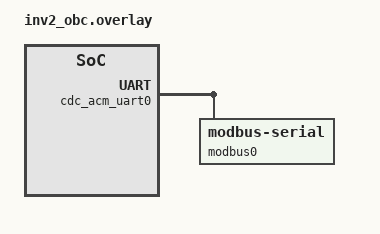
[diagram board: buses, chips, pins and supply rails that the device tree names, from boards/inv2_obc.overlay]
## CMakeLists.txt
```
# SPDX-License-Identifier: Apache-2.0

cmake_minimum_required(VERSION 3.20.0)

find_package(Zephyr REQUIRED HINTS $ENV{ZEPHYR_BASE})
project(invictus_obc)

file(GLOB_RECURSE app_sources ${CMAKE_CURRENT_SOURCE_DIR}/src/*.c)

target_sources(app PRIVATE ${app_sources})
target_include_directories(app PRIVATE ${CMAKE_CURRENT_SOURCE_DIR}/include)
```

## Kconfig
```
source "Kconfig.zephyr"

menu "OBC Application Options"

config LORA_REDIRECT_UART
    bool "Enable LoRa UART Shell"
    help
      This option enables a specific UART shell for interacting with the LoRa module.
      It is useful for debugging and direct control of the LoRa functions via a terminal.
    default 1

config MODBUS_HYDRA_SAMPLE_INTERVAL_MSEC
    int "sample interval for hydra boards in milliseconds"
    default 500

config MODBUS_LIFT_SAMPLE_INTERVAL_MSEC
    int "sample interval for the lifts, in ms"
    default 500

config MODBUS_ZBUS_LISTENER_PRIO
    int "zbus priority assigned to the modbus listener callback"
    default 5

config MODBUS_WORK_Q_PRIO
    int "priority for the modbus work queue thread"
    default 5

config MODBUS_WORK_Q_STACK
    int "stack size for the modbus work q, in bytes"
    default 1024

config TEST_MODE
    bool "Enable test mode"
    help
      This option enables test mode for the application, used in the static tests.
      When turned off, the application will run in normal (launch) mode.
    default 1

endmenu
```

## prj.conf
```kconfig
# General Settings
CONFIG_LOG=y
CONFIG_GPIO=y
CONFIG_SERIAL=y
CONFIG_ZBUS=y
CONFIG_PWM=y

# Logging settings
CONFIG_LOG=y
CONFIG_LOG_MODE_IMMEDIATE=n
CONFIG_LOG_MODE_DEFERRED=y

# rtt settings
CONFIG_USE_SEGGER_RTT=n
CONFIG_RTT_CONSOLE=n
CONFIG_UART_CONSOLE=n

# Modbus settings
CONFIG_MODBUS=y
CONFIG_MODBUS_ROLE_CLIENT=y

# State Machine Framework settings
CONFIG_SMF=y
CONFIG_SMF_ANCESTOR_SUPPORT=y
CONFIG_SMF_INITIAL_TRANSITION=y

# UART settings
CONFIG_UART_INTERRUPT_DRIVEN=y
CONFIG_UART_LINE_CTRL=n

# Enable the LoRa sx128x radio driver
CONFIG_LORA_REDIRECT_UART=n
CONFIG_LORA_SX128X=y

# CONFIG_MPSL=y
# CONFIG_MPSL_FEM=y
```

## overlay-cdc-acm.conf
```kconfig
CONFIG_UART_LINE_CTRL=y
CONFIG_USB_DEVICE_STACK=y
CONFIG_USB_DEVICE_PRODUCT="CDC ACM MODBUS Master Invictus"
CONFIG_USB_DEVICE_MANUFACTURER="Tiago Amorim"
CONFIG_USB_DEVICE_INITIALIZE_AT_BOOT=n
```

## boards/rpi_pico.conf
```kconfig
CONFIG_LORA_REDIRECT_UART=y
```

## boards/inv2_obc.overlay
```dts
&zephyr_udc0 {
	cdc_acm_uart0: cdc_acm_uart0 {
		compatible = "zephyr,cdc-acm-uart";
        status = "okay";

		modbus0 {
			compatible = "zephyr,modbus-serial";
			status = "okay";
		};
	};
};
```

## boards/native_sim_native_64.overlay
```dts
/{
	fake_sx128x: fake_sx128x {
		compatible = "zephyr,fake-sx128x";
		status = "okay";
		size = <DT_SIZE_K(8)>;
	};

  aliases {
        lora0 = &fake_sx128x;
    };
};


&uart0 {
       modbus0  {
                status = "okay";
       };
       status = "okay";
};
```

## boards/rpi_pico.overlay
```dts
&uart0 {
        modbus_uart: modbus0  {
                compatible = "zephyr,modbus-serial";
                status = "okay";
       };
       status = "okay";
};

&pinctrl {
    pwm_default: pwm_default {
        group1 {
            pinmux = <PWM_2B_P5>;
        };
    };
};

&pwm {
    pinctrl-0 = <&pwm_default>;
    pinctrl-names = "default";
    divider-int-0 = <255>;
    status = "okay";
};

/ {
       sx128x: sx128x {
              compatible = "zephyr,fake-sx128x";
              status = "okay";
              size = <DT_SIZE_K(8)>;
       };

       aliases {
              lora0 = &sx128x;
              modbus-rtu = &modbus_uart;
       };
};
```

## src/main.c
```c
#include <zephyr/kernel.h>
#include <zephyr/zbus/zbus.h>

#include <zephyr/sys/atomic.h>
#include <zephyr/sys/atomic_types.h>

#include <zephyr/drivers/gpio.h>
#include <zephyr/drivers/pwm.h>

#if DT_NODE_HAS_COMPAT(DT_CHOSEN(zephyr_shell_uart), zephyr_cdc_acm_uart)
#include <zephyr/drivers/uart.h>
#endif // zephyr_shell_uart

#include <zephyr/logging/log.h>

LOG_MODULE_REGISTER(obc, LOG_LEVEL_INF);

#include "data_models.h"
#include "validators.h"
#include "packets.h"
#include "shell.h"

#include "services/lora.h"
#include "services/modbus.h"
#include "services/state_machine/main_sm.h"

static const struct gpio_dt_spec led_green =
    GPIO_DT_SPEC_GET(DT_NODELABEL(led_green_0), gpios);
static const struct gpio_dt_spec led_red = GPIO_DT_SPEC_GET(DT_NODELABEL(led_red_0), gpios);
static const struct pwm_dt_spec buzzer = PWM_DT_SPEC_GET(DT_NODELABEL(buzzer));

#define BUZZER_PULSE_MICROS 500

/* static const struct device *fem = DEVICE_DT_GET(DT_NODELABEL(nrf_radio_fem)); */

// FIXME: remove, it's just to make sure linker is working
#include "invictus2/drivers/sx128x_hal.h"

// THREADS:
// - Main thread: LoRa communication. (for now just pipe everything to stdout).
//   - Pre-Flight Mode: Switches between receive and transmit modes based
//   periodically -- High priority thread.
//   - Flight Model: passively sends data to the ground station. Should not
//   block other threads, switch to low priority.
// - Modbus thread: Reads holding registers from the slave devices and updates
// the filling state machine. -- Medium priority thread.
// - Navigator thread: Reads data from the navigator board via uart. -- Medium
// priority thread.
// - Data Thread: Saves sensor data and debug logs to the SD card. -- Low
// priority thread.
//

// --- ZBUS Channel Definitions ---
//
//
// --- Sensor Channels ---
ZBUS_CHAN_DEFINE(chan_thermo_sensors,  /* Channel Name */
                 thermocouples_t,      /* Message Type */
                 NULL,                 /* Validator Func */
                 NULL,                 /* User Data */
                 ZBUS_OBSERVERS_EMPTY, /* Observers */
                 ZBUS_MSG_INIT(0)      /* Initial Value */
);

ZBUS_CHAN_DEFINE(chan_pressure_sensors, /* Channel Name */
                 pressures_t,           /* Message Type */
                 NULL,                  /* Validator Func */
                 NULL,                  /* User Data */
                 ZBUS_OBSERVERS_EMPTY,  /* Observers */
                 ZBUS_MSG_INIT(0)       /* Initial Value */
);

ZBUS_CHAN_DEFINE(chan_weight_sensors,  /* Channel Name */
                 loadcell_weights_t,   /* Message Type */
                 NULL,                 /* Validator Func */
                 NULL,                 /* User Data */
                 ZBUS_OBSERVERS_EMPTY, /* Observers */
                 ZBUS_MSG_INIT(0)      /* Initial Value */
);

ZBUS_CHAN_DEFINE(chan_navigator_sensors, /* Channel Name */
                 navigator_sensors_t,    /* Message Type */
                 NULL,                   /* Validator Func */
                 NULL,                   /* User Data */
                 ZBUS_OBSERVERS_EMPTY,   /* Observers */
                 ZBUS_MSG_INIT(0)        /* Initial Value */
);

ZBUS_CHAN_DEFINE(chan_kalman_data,     /* Channel Name */
                 kalman_data_t,        /* Message Type */
                 NULL,                 /* Validator Func */
                 NULL,                 /* User Data */
                 ZBUS_OBSERVERS_EMPTY, /* Observers */
                 ZBUS_MSG_INIT(0)      /* Initial Value */
);

// --- Mobdus Actuator Write Channel ---
ZBUS_CHAN_DEFINE(chan_actuators,       /* Channel Name */
                 actuators_bitmap_t,   /* Message Type */
                 NULL,                 /* Validator Func */
                 NULL,                 /* User Data */
                 ZBUS_OBSERVERS_EMPTY, /* Observers */
                 ZBUS_MSG_INIT(0)      /* Initial Value */
);

// --- Packets from Ground Station ---
ZBUS_CHAN_DEFINE(chan_packets,     /* Channel Name */
                 generic_packet_t, /* Message Type */
                 NULL,             /* Validator Func */
                 /* packet_validator,     /\* Validator Func *\/ */
                 NULL,                 /* User Data */
                 ZBUS_OBSERVERS_EMPTY, /* Observers */
                 ZBUS_MSG_INIT(0)      /* Initial Value */
);

// --- Rocket State ---
ZBUS_CHAN_DEFINE(chan_rocket_state,    /* Channel Name */
                 state_data_t,         /* Message Type */
                 NULL,                 /* Validator Func */
                 NULL,                 /* User Data */
                 ZBUS_OBSERVERS_EMPTY, /* Observers */
                 ZBUS_MSG_INIT(0)      /* Initial Value */
);

static lora_context_t lora_context;

// --- Thread Spawning ---

bool setup_services(atomic_t *stop_signal)
{
    LOG_INF("Setting up threads...");
    lora_context.stop_signal = stop_signal;

    LOG_INF("  * state machine...");
    if (!state_machine_service_setup())
    {
        LOG_ERR("State machine service setup failed");
        return false;
    }

    // Initialize the modbus thread
    LOG_INF("  * modbus...");
    if (!modbus_service_setup())
    {
        LOG_ERR("Modbus RTU master setup failed");
        return false;
    }

    /* LOG_INF("  * lora..."); */
    /* if (!lora_service_setup(&lora_context)) */
    /* { */
    /*     LOG_ERR("LoRa thread setup failed"); */
    /*     return false; */
    /* } */

    LOG_INF("done...");
    return true;
}

void health_check(void)
{
    LOG_INF("Heartbeat");

    k_sleep(K_MSEC(1000));
    pwm_set_pulse_dt(&buzzer, BUZZER_PULSE_MICROS * 1000);
    k_sleep(K_MSEC(1000));
    pwm_set_pulse_dt(&buzzer, 0);
}

// --- Main ---
int main(void)
{
    LOG_INF("Starting OBC main thread");

    health_check();
    setup_shell_if_enabled();
    health_check();

    LOG_INF("Setting up services");
    atomic_t stop_signal = ATOMIC_INIT(0);
    if (!setup_services(&stop_signal))
    {
        LOG_ERR("Failed to setup services");
        k_oops();
    }

    /* lora_service_start(); */
    state_machine_service_start();
    // modbus_service_start();

    LOG_INF("Services started.");
    return 0;
}
```

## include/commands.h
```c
#ifndef COMMANDS_H_
#define COMMANDS_H_

#include "zephyr/toolchain.h"

#include <stdint.h>
#include <stdbool.h>
#include <stddef.h>

#include "data_models.h"

// REVIEW: make this KConfig param?
#define SUPPORTED_PACKET_VERSION 1

// -----------------------------------------------------------------------------
// Packet header
// -----------------------------------------------------------------------------

// Always 1 byte fields, packed for on-the-wire transmission.
struct cmd_header_s {
    uint8_t packet_version;
    uint8_t sender_id;
    uint8_t target_id;
    uint8_t command_id; // use values from enum radio_command_e
};

// -----------------------------------------------------------------------------
// Generic Command Structure
// -----------------------------------------------------------------------------

#define CMD_SIZE          128u
#define CMD_HEADER_BYTES  ((uint8_t)sizeof(struct cmd_header_s))
#define CMD_PAYLOAD_BYTES (CMD_SIZE - CMD_HEADER_BYTES)

// NOTE: Generic commands structure, cast to a specific command type to access payloads.
struct generic_cmd_s {
    struct cmd_header_s header;
    uint8_t _reserved[CMD_PAYLOAD_BYTES];
};

// -----------------------------------------------------------------------------
// STATUS_REP payload layout
// -----------------------------------------------------------------------------

// NOTE: Alignment needs to be kept in mind.
//       It might be usable cross-platform even without compiler-specific attributes, as long
//       as the fields are defined in the same order and sizes are consistent across platforms.
//
//       For our use case, however, both the sender and receiver are the same platform
//       and compiler, so we can safely use memcpy to serialize and deserialize.
//
struct status_rep_s {
    state_data_t state_data;
    pressures_t pressures;
    thermocouples_t thermocouples;
    actuators_bitmap_t actuators;
    loadcell_weights_t loadcells;
    navigator_sensors_t navigator;
};

// -----------------------------------------------------------------------------
// Fill Exec payloads
// -----------------------------------------------------------------------------

enum fill_program_e {
    _FILL_PROGRAM_NONE = 0,

    FILL_PROGRAM_N2 = 1,
    FILL_PROGRAM_PRE_PRESS,
    FILL_PROGRAM_N2O,
    FILL_PROGRAM_POST_PRESS,

    _FILL_PROGRAM_MAX
};

struct fill_N2_params_s {
    uint16_t target_N2_deci_bar;
};

struct fill_press_params_s {
    uint16_t target_tank_deci_bar;
    uint16_t trigger_tank_deci_bar; // optional: set to 0xFFFF if unused
};

struct fill_N2O_params_s {
    uint16_t target_weight_grams;
    int16_t trigger_temp_deci_c;
};

// Fill exec generic envelope
struct fill_exec_s {
    uint8_t program_id;                          // values from enum fill_program_e
    uint8_t params[CMD_PAYLOAD_BYTES - 1]; // 1 byte for program_id, rest for params
};

#define FILL_N2_PARAM_BYTES       (sizeof(struct fill_N2_params_s))
#define FILL_PRESSURE_PARAM_BYTES (sizeof(struct fill_pressure_params_s))
#define FILL_N2O_EXTRA_BYTES      (sizeof(struct fill_n2o_extra_s))

// -----------------------------------------------------------------------------
// Manual Commands
// -----------------------------------------------------------------------------

enum manual_cmd_e {
    _MANUAL_CMD_NONE = 0,

    MANUAL_CMD_SD_LOG_START,
    MANUAL_CMD_SD_LOG_STOP,
    MANUAL_CMD_SD_STATUS,
    MANUAL_CMD_VALVE_STATE,
    MANUAL_CMD_VALVE_MS,
    MANUAL_CMD_LOADCELL_TARE,
    MANUAL_CMD_TANK_TARE,

    _MANUAL_CMD_MAX
};

struct manual_valve_state_s {
    uint8_t valve_id;
    uint8_t open; // boolean: 0 closed, 1 open
};

struct manual_valve_ms_s {
    uint8_t valve_id;
    uint32_t duration_ms;
};

struct manual_tare_s {
    uint8_t id; // loadcell or tank id
};

// same logic as struct fill_exec_s
struct manual_exec_s {
    uint8_t manual_cmd_id;
    uint8_t params[CMD_PAYLOAD_BYTES - 1];
};

// -----------------------------------------------------------------------------
// ACK payload
// -----------------------------------------------------------------------------
// ACK contains the command id being acknowledged and optional error code(s).
// Define a compact representation.

struct ack_s {
    uint8_t ack_cmd_id;  // command_t that is acknowledged
    uint8_t status_code; // 0 = OK, non-zero = error
    uint8_t params[CMD_PAYLOAD_BYTES - 2];
};

// -----------------------------------------------------------------------------
// Command IDs
// -----------------------------------------------------------------------------
typedef enum cmd_e {
    _CMD_NONE = 0,

    // FROM GROUND STATION to OBC
    //
    // No payload data, just reserved bytes
    CMD_STATUS_REQ = 1,
    CMD_ABORT,
    CMD_READY,
    CMD_ARM,
    CMD_FIRE,
    CMD_LAUNCH_OVERRIDE,
    CMD_STOP,
    CMD_SAFE_PAUSE,
    CMD_RESUME,
    CMD_MANUAL_TOGGLE,

    // Commands with payload data
    CMD_FILL_EXEC,
    CMD_MANUAL_EXEC,

    // FROM OBC to GROUND STATION
    //
    CMD_STATUS_REP,
    CMD_ACK,

    _CMD_MAX
} command_t;

typedef enum fill_cmd_e {
    CMD_FILL_NONE = 0,
    CMD_FILL_N2,
    CMD_FILL_PRE_PRESS,
    CMD_FILL_N2O,
    CMD_FILL_POST_PRESS,
} fill_command_t;   

// -----------------------------------------------------------------------------
// Individual Command Definitions
// -----------------------------------------------------------------------------
// NOTE: These definitions should be safe to cast to and from the generic
//       radio_generic_cmd_s structure as they all have the same header structure
//       and align to the same size.
//
//       Prefer to use these definitions across the codebase to ensure type
//       safety and consistency.
//
//       the generic contained should only be used to pack and unpack commands
//       into wire format for transmission over the radio.
// -----------------------------------------------------------------------------

#define _PAD_SIZE(partial_s) (CMD_PAYLOAD_BYTES - sizeof(partial_s))

#define _COMMAND_NAME(name) cmd_##name##_s

#define _ASSERT_CMD_SIZE(name)                                                                \
    BUILD_ASSERT(sizeof(struct _COMMAND_NAME(name)) == CMD_SIZE, #name " size error")

// Command with no payload data (all reserved)
#define MAKE_CMD(name)                                                                        \
    struct _COMMAND_NAME(name) {                                                              \
        struct cmd_header_s hdr;                                                              \
        uint8_t _reserved[CMD_PAYLOAD_BYTES];                                           \
    };                                                                                        \
    _ASSERT_CMD_SIZE(name)

// Command with defined payload data
#define MAKE_CMD_WITH_PAYLOAD(name, partial_s)                                                \
    struct _COMMAND_NAME(name) {                                                              \
        struct cmd_header_s hdr;                                                              \
        partial_s payload;                                                                    \
        uint8_t _reserved[_PAD_SIZE(partial_s)];                                              \
    };                                                                                        \
    _ASSERT_CMD_SIZE(name)

MAKE_CMD(status_req);
MAKE_CMD(abort);
MAKE_CMD(ready);
MAKE_CMD(arm);
MAKE_CMD(fire);
MAKE_CMD(launch_override);
MAKE_CMD(fill_stop);
MAKE_CMD(fill_resume);
MAKE_CMD(manual_toggle);

MAKE_CMD_WITH_PAYLOAD(ack, struct ack_s);
MAKE_CMD_WITH_PAYLOAD(fill_exec, struct fill_exec_s);
MAKE_CMD_WITH_PAYLOAD(status_rep, struct status_rep_s);
MAKE_CMD_WITH_PAYLOAD(manual_exec, struct manual_exec_s);

#undef _PAD_SIZE
#undef _COMMAND_NAME
#undef _ASSERT_CMD_SIZE

#undef MAKE_CMD
#undef MAKE_CMD_WITH_PAYLOAD

// -----------------------------------------------------------------------------
// Serialization helpers (declarations)
// -----------------------------------------------------------------------------

enum pack_error_e {
    PACK_ERROR_NONE = 0,
    PACK_ERROR_INVALID_ARG,
    PACK_ERROR_BUFFER_TOO_SMALL,
    PACK_ERROR_UNSUPPORTED_VERSION,
    PACK_ERROR_INVALID_CMD_ID,
};

enum pack_error_e cmd_pack(const struct generic_cmd_s *const cmd,
                                 uint8_t *const out_buf, const size_t out_buf_size);

enum pack_error_e cmd_unpack(const uint8_t *const in_buf, const size_t in_buf_size,
                                   struct generic_cmd_s *const cmd);

#endif // COMMANDS_H_
```

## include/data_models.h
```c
#ifndef DATA_MODELS_H_
#define DATA_MODELS_H_

#include <stdint.h>

typedef enum
{
    _MAIN_STATE_START = 0,

    ROOT,
    IDLE,
    FILL,
    READY,
    ARMED,
    FLIGHT,
    ABORT,

    _MAIN_STATE_MAX,
} main_state_t;

#define FILL_SST(SST) (SST + _MAIN_STATE_MAX + 1)

// Filling Substates
typedef enum
{
    _FILL_SST_START,

    SAFE_PAUSE,
    SAFE_PAUSE_IDLE,
    SAFE_PAUSE_VENT,

    FILL_N2,
    FILL_N2_IDLE,
    FILL_N2_FILL,
    FILL_N2_VENT,

    PRE_PRESS,
    PRE_PRESS_IDLE,
    PRE_PRESS_VENT,
    PRE_PRESS_FILL_N2,

    FILL_N2O,
    FILL_N2O_IDLE,
    FILL_N2O_FILL,
    FILL_N2O_VENT,

    POST_PRESS,
    POST_PRESS_IDLE,
    POST_PRESS_VENT,
    POST_PRESS_FILL_N2,

    _FILL_SST_MAX
} fill_substate_t;

#define FLIGHT_SST(SST) (SST + FILL_SST(_FILL_SST_MAX) + 1)

// Flight Substates
typedef enum
{
    _FLIGHT_SST_START,

    IGNITION,
    BOOST,
    COAST,
    APOGEE,
    DROGUE_CHUTE,
    MAIN_CHUTE,
    TOUCHDOWN,

    _FLIGHT_SST_MAX,
} flight_substate_t;

typedef enum
{
    _VALVE_NONE = 0,

    // Rocket Valves
    VALVE_PRESSURIZING,
    VALVE_VENT,
    VALVE_ABORT,
    VALVE_MAIN,

    // Filling Station Valves
    VALVE_N2O_FILL,
    VALVE_N2O_PURGE,
    VALVE_N2_FILL,
    VALVE_N2_PURGE,

    // Filling Station Quick Disconnects
    VALVE_N2O_QUICK_DC,
    VALVE_N2_QUICK_DC,

    _VALVE_COUNT,
} valve_t;

// Structures and unions for various sensor data and actuator states
// Used across the ZBUS channels.

// Actuators bitfield definition (13 bits -> store in 2 bytes)
typedef union
{
    struct
    {
        // Rocket valves
        uint16_t v_pressurizing: 1;
        uint16_t v_vent: 1;
        uint16_t v_abort: 1;
        uint16_t v_main: 1;

        // Filling station valves
        uint16_t v_n2o_fill: 1;
        uint16_t v_n2o_purge: 1;
        uint16_t v_n2_fill: 1;
        uint16_t v_n2_purge: 1;

        // E-matches: ignition, drogue, main chute (3 bits)
        uint16_t ematch_ignition: 1;
        uint16_t ematch_drogue: 1;
        uint16_t ematch_main: 1;

        // Filling station Quick Release
        //  NOTE : After launch these should be interpreted
        //       as reserved bits as their state is no longer
        //       relevant.
        uint16_t v_n2o_quick_dc: 1;
        uint16_t v_n2_quick_dc: 1;

        // remaining bits reserved for alignment
        uint16_t reserved: 3;
    };

    struct
    {
        uint16_t rocket_valves_mask: 4;
        uint16_t fill_station_valves_mask: 4;
        uint16_t ematches_mask: 3;
        uint16_t quick_dc_mask: 2;
        uint16_t reserved_mask: 3;
    };

    uint16_t raw;
} actuators_bitmap_t;

typedef union
{
    struct
    {
        int16_t n2o_tank_uf_t1;
        int16_t n2o_tank_uf_t2;
        int16_t n2o_tank_uf_t3;
        int16_t n2o_tank_lf_t1;
        int16_t n2o_tank_lf_t2;
        int16_t chamber_thermo;
        int16_t n2o_line_thermo1; // before and after solenoids
        int16_t n2o_line_thermo2;
        int16_t n2_line_thermo;
    };
    int16_t raw[8];
} thermocouples_t;

typedef union
{
    struct
    {
        uint16_t n2o_tank_pressure;
        uint16_t chamber_pressure;
        uint16_t n2o_line_pressure;
        uint16_t n2_line_pressure;
        uint16_t quick_dc_pressure;
    };
    uint16_t raw[6];
} pressures_t;

typedef union
{
    struct
    {
        uint16_t n2o_loadcell;  // N2O bottle loadcell
        uint16_t rail_loadcell; // Only used during competition to measure rocket weight

        // Loadcells for static tests
        uint16_t thrust_loadcell1;
        uint16_t thrust_loadcell2;
        uint16_t thrust_loadcell3;
    };
    uint16_t raw[5];
} loadcell_weights_t;

typedef struct
{
    // GPS:
    uint32_t gps_latitude_u32;  // reinterpret-casted float bits
    uint32_t gps_longitude_u32; // reinterpret-casted float bits
    uint16_t gps_altitude;      // altitude in meters
    uint16_t gps_hspeed;        // horizontal speed (units TBD)
    uint8_t gps_sats;           // gps number of satelites
    uint8_t _reserved;          // extra byte for alignment

    // Barometers:
    uint16_t baro1, baro2;

    // IMU:
    int16_t mag_x, mag_y, mag_z;       // Magnetometer
    int16_t gyro_x, gyro_y, gyro_z;    // Gyroscope
    int16_t accel_x, accel_y, accel_z; // Accelerometer
} navigator_sensors_t;

typedef struct
{
    int16_t vertical_speed;
    int16_t vertical_acceleration;
    int16_t altitude;
    int16_t max_altitude;
    int16_t quaternions[4];
} kalman_data_t;

typedef struct state_data_s
{
    main_state_t main_state;
    fill_substate_t filling_state;
    flight_substate_t flight_state;
} state_data_t;

typedef struct
{
    state_data_t state;
    pressures_t pressures;
    thermocouples_t thermocouples;
    actuators_bitmap_t actuators;
    loadcell_weights_t loadcells;
    navigator_sensors_t navigator;
    kalman_data_t kalman;
} system_data_t;

#endif // DATA_MODELS_H_
```

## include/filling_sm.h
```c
#ifndef _FILLING_SM_H_
#define _FILLING_SM_H_

#include "zephyr/smf.h"

#include "filling_sm_config.h"

#define CMD_OTHER_START  0x00010000
#define CMD_IDLE_START   0x00000100
#define CMD_GLOBAL_START 0x00000001

#define CMD_OTHER_MASK  0x00FF0000
#define CMD_IDLE_MASK   0x0000FF00
#define CMD_GLOBAL_MASK 0x000000FF

#define CMD_OTHER(x)  ((x) & CMD_OTHER_MASK)
#define CMD_IDLE(x)   ((x) & CMD_IDLE_MASK)
#define CMD_GLOBAL(x) ((x) & CMD_GLOBAL_MASK)

enum cmd_global {
    CMD_STOP = CMD_GLOBAL_START, // ANY -> IDLE
    CMD_ABORT,                   // ANY -> ABORT
    CMD_PAUSE,                   // ANY -> SAFE_PAUSE_IDLE
};

enum cmd_idle {
    CMD_FILL_COPV = CMD_IDLE_START, // IDLE -> FILLING_COPV_IDLE
    CMD_PRE_PRESSURIZE,             // IDLE -> PRE_PRESSURIZING_IDLE
    CMD_FILL_N2O,                   // IDLE -> FILLING_N2O_IDLE
    CMD_POST_PRESSURIZE,            // IDLE -> POST_PRESSURIZING_IDLE
};

enum cmd_other {
    CMD_READY = CMD_OTHER_START, // ABORT -> IDLE
    CMD_RESUME,                  // SAFE_PAUSE -> IDLE
};

typedef uint32_t cmd_t;

/* List of possible states */
enum filling_state {
    ROOT, // parent state to all states. Used to handle global commands

    IDLE,
    ABORT,
    MANUAL_OP, // NOTE: Acept manual override commands from the ground station

    // SAFE PAUSE
    SAFE_PAUSE, // parent state
    SAFE_PAUSE_IDLE,
    SAFE_PAUSE_VENT,

    // FILLING_COPV (filling N)
    FILLING_COPV, // parent state
    FILLING_COPV_IDLE,
    FILLING_COPV_FILL,

    // PRE_PRESSURIZING
    PRE_PRESSURIZING, // parent state
    PRE_PRESSURIZING_IDLE,
    PRE_PRESSURIZING_VENT,
    PRE_PRESSURIZING_FILL_N,

    // FILLING_N2O
    FILLING_N2O, // parent state
    FILLING_N2O_IDLE,
    FILLING_N2O_FILL,
    FILLING_N2O_VENT,

    // POST_PRESSURIZING
    POST_PRESSURIZING, // parent state
    POST_PRESSURIZING_IDLE,
    POST_PRESSURIZING_VENT,
    POST_PRESSURIZING_FILL_N,
};

enum valves {
    VALVE_N2O_FILL,
    VALVE_N2O_PURGE,
    VALVE_N_FILL,
    VALVE_N_PURGE,
    VALVE_N2O_QUICK_DC,
    VALVE_N2_QUICK_DC,
    VALVE_PRESSURIZING,
    VALVE_MAIN,
    VALVE_VENT,
    VALVE_ABORT,
    VALVE_COUNT,
};

struct filling_sm_config {
    struct safe_pause {
        uint16_t target_n2o_tank_pressure; 
        uint16_t trigger_n2o_tank_pressure;
    } safe_pause;

    // State Machine Configuration
    struct filling_copv {
        uint16_t target_n2_tank_pressure; // NOTE: this is the pressure on the n2 line before the tank, as there is no pressure sensor on the n2 tank.
    } f_copv;

    struct pre_pressurizing {
        uint16_t target_n2o_tank_pressure;
        uint16_t trigger_n2o_tank_pressure;
    } pre_p;

    struct filling_n2o {
        uint16_t target_n2o_tank_weight;
        uint16_t target_n2o_tank_pressure;
        uint16_t trigger_n2o_tank_pressure;
        uint16_t trigger_n2o_tank_temperature; // Minimum temperature safe for the valves
    } f_n2o;

    struct post_pressurizing {
        uint16_t target_n2o_tank_pressure;
        uint16_t trigger_n2o_tank_pressure;
    } post_p;
};

union filling_data {
    struct {
        uint16_t n2_tank_pressure; // This value is from the N2 line (Filling Station)
        uint16_t n2o_tank_pressure;
        uint16_t n2o_tank_weight;
        uint16_t n2o_tank_temperature; // Temperature of the N2O tank
    }; // anonymous struct
    uint16_t raw[4];
};

/* User defined object */
struct filling_sm_object {
    /* This must be first */
    struct smf_ctx ctx;

    cmd_t command;
    union filling_data data;

    union valve_states {
        struct {
            uint16_t n2o_fill : 1;
            uint16_t n2o_purge : 1;
            uint16_t n_fill : 1;
            uint16_t n_purge : 1;
            uint16_t n2o_quick_dc : 1;
            uint16_t n2_quick_dc : 1;
            uint16_t pressurizing : 1;
            uint16_t main : 1;
            uint16_t vent : 1;
            uint16_t abort : 1;
            uint16_t reserved : 6;
        }; // anonymous struct for individual valve states
        uint16_t raw;
    } valve_states;

    struct filling_sm_config *config;
};

#ifdef UNIT_TEST
extern const struct smf_state filling_states[];
#endif

void filling_sm_init(struct filling_sm_object *initial_s_obj);

#define LOG_FILLING_DATA(fsm_data)                                                            \
    do {                                                                                     \
        LOG_INF("N2 Tank P: %u", (fsm_data).n2_tank_pressure);                             \
        LOG_INF("N2O Tank P: %u", (fsm_data).n2o_tank_pressure);                          \
        LOG_INF("N2O Tank W: %u", (fsm_data).n2o_tank_weight);                            \
        LOG_INF("N2O Tank T: %u", (fsm_data).n2o_tank_temperature);                       \
    } while (0)

#define DEFAULT_FSM_CONFIG(name)                                                              \
    struct filling_sm_config name = {                                                         \
        .safe_pause =                                                                         \
            {                                                                                 \
                .target_n2o_tank_pressure = SAFE_PAUSE_TARGET_N2O_TANK_P,                          \
                .trigger_n2o_tank_pressure = SAFE_PAUSE_TRIGGER_N2O_TANK_P,                        \
            },                                                                                \
        .f_copv =                                                                             \
            {                                                                                 \
                .target_n2_tank_pressure = FILLING_COPV_TARGET_N2_TANK_P,                        \
            },                                                                                \
        .pre_p =                                                                              \
            {                                                                                 \
                .target_n2o_tank_pressure = PRE_PRESSURIZING_TARGET_N2O_TANK_P,                       \
                .trigger_n2o_tank_pressure = PRE_PRESSURIZING_TRIGGER_N2O_TANK_P,                     \
            },                                                                                \
        .f_n2o =                                                                              \
            {                                                                                 \
                .target_n2o_tank_pressure = FILLING_N2O_TARGET_N2O_TANK_P,                            \
                .target_n2o_tank_weight = FILLING_N2O_TARGET_N2O_TANK_W,                              \
                .trigger_n2o_tank_pressure = FILLING_N2O_TRIGGER_N2O_TANK_P,                          \
                .trigger_n2o_tank_temperature = FILLING_N2O_TRIGGER_N2O_TANK_T,                              \
            },                                                                                \
        .post_p =                                                                             \
            {                                                                                 \
                .target_n2o_tank_pressure = POST_PRESSURIZING_TARGET_N2O_TANK_P,                      \
                .trigger_n2o_tank_pressure = POST_PRESSURIZING_TRIGGER_N2O_TANK_P,                    \
            },                                                                                \
    }

#endif // _FILLING_SM_H_
```

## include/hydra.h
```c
#ifndef HYDRA_H_
#define HYDRA_H_

#include "services/modbus.h"

#include <stdint.h>

// NOTE: Solenoids are represented as modbus coils.
// Sensors are represented as modbus input registers.
// Temperatures in ºC. Pressures in Bar.

// Upper Feed (UF) Hydraulic Regulation and Actuation (HYDRA) board structure
struct uf_hydra {
    struct modbus_slave_metadata meta;

    union uf_solenoids {
        struct {
            uint8_t pressurizing_valve: 1;
            uint8_t venting_valve: 1;
            uint8_t _reserved: 6;
        };
        uint8_t raw;
    } solenoids;

    union uf_sensors {
        struct {
            uint16_t uf_temperature1; 
            uint16_t uf_temperature2;
            uint16_t uf_temperature3;
        };
        uint16_t raw[3];
    } sensors;
};

// Lower Feed (UF) Hydraulic Regulation and Actuation (HYDRA) board structure
struct lf_hydra {
    struct modbus_slave_metadata meta;

    union lf_solenoids {
        // REVIEW: change these names once there is a better naming convention
        struct {
            uint8_t abort_valve: 1;
            uint8_t main_valve: 1;
            uint8_t _reserved: 6;
        };
        uint8_t raw;
    } solenoids;

    union lf_sensors {
        struct {
            uint16_t lf_temperature1;
            uint16_t lf_temperature2;
            uint16_t lf_pressure;
            uint16_t cc_pressure;
        };
        uint16_t raw[4];
    } sensors;
};

// Rocket Hydras structure containing upper and lower feed hydras
struct rocket_hydras {
    struct uf_hydra uf;
    struct lf_hydra lf;
};

// Filling station hydra structure
struct fs_hydra {
    struct modbus_slave_metadata meta;

    union fs_solenoids {
        struct {
            uint8_t n2o_fill_valve: 1;
            uint8_t n2_fill_valve: 1;
            uint8_t n2o_purge_valve: 1;
            uint8_t n2_purge_valve: 1;
            uint8_t n2o_quick_dc: 1;
            uint8_t n2_quick_dc: 1;
            uint8_t _reserved: 2;
        };
        uint8_t raw;
    } solenoids;

    union fs_sensors {
        struct {
            // Pressure sensors
            uint16_t n2o_pressure;
            uint16_t n2_pressure;
            uint16_t quick_dc_pressure;

            // Temperature sensors
            uint16_t n2o_temperature1; // temperature before solenoid
            uint16_t n2o_temperature2; // temperature after solenoid
            uint16_t n2_temperature;
        };
        uint16_t raw[6];
    } sensors;
};

/*
 * Initialize the hydras structure with default values.
 * This function sets the slave IDs, connection states, solenoid states, and sensor data to
 * their initial values.
 *
 * This function must be called before using the hydras structure.
 * It expects that the slave IDs for the upper feed (UF) and lower feed (LF)
 * hydras are defined in the Kconfig options CONFIG_HYDRA_UF_SLAVE_ID
 * and CONFIG_HYDRA_LF_SLAVE_ID, respectively.
 *
 * @param h Pointer to the hydras structure to initialize.
 * @returns void.
 */
void rocket_hydras_init(struct rocket_hydras *h);

/**
 * Read the sensors from the hydras.
 * This function reads the input registers for the upper feed and lower feed hydras
 * and updates their respective sensor values.
 *
 * @param client_iface The Modbus client interface to use for reading.
 * @param h Pointer to the hydras structure containing the hydras to read.
 * @returns void.
 *
 * @note This function flags the connection status of each hydra based on the read result.
 *       If the read is successful, it sets the `is_connected` flag to true.
 *       If the read fails, it sets the `is_connected` flag to false and logs a warning.
 */
void rocket_hydras_sensor_read(const int client_iface, struct rocket_hydras *const h);

// TODO: implement this function
void rocket_hydras_coils_read(const int client_iface, struct rocket_hydras *const h);

#endif // HYDRA_H_
```

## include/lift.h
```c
#ifndef LIFT_H_
#define LIFT_H_

#include "stdint.h"

// NOTE: E-Matches are represented as modbus coils.
// Load Cells are represented as modbus input registers.
// TODO: decide if weights should be signed, unsigned, or float.

// TODO: implement is_connected functionality in the codebase.

struct lift_metadata {
    uint16_t ir_start;    // Start address for input registers
    uint8_t slave_id;     // Modbus slave ID
    uint8_t is_connected; // Connection status
};

// Filling Station (FS) Loadcell and Ignition Firing Terminal (LIFT) board structure
struct fs_lift {
    struct lift_metadata meta;

    // Note: the board has 3 loadcell amps and 1 e-match driver to accomodate for the rocket board needs.
    // The fs board only uses 1 loadcell.
    uint16_t n2o_loadcell;
};

// Rocket (R) Loadcell and Ignition Firing Terminal (LIFT) board structure
struct r_lift {
    struct lift_metadata meta;

    union r_loadcells {
        struct {
            uint16_t loadcell1;
            uint16_t loadcell2;
            uint16_t loadcell3;
        } values;
        uint16_t raw[3];
    } loadcells;

    // Feels weird to have the union with only one bit,
    // but it is consistent with the hydras and other lift structs.
    union r_ematches {
        struct {
            uint8_t main_ematch: 1;
            uint8_t _reserved: 7;
        };
        uint8_t raw;
    } ematches; 
};

/*
 * Initialize the lift structure with default values.
 * This function sets the slave IDs, connection states, e-match states, and sensor data to
 * their initial values.
 *
 * This function must be called before using the lift structure.
 * It expects that the slave IDs for the filling station (FS) and rocket (R)
 * lift boards are defined in the Kconfig options CONFIG_LIFT_FS_SLAVE_ID
 * and CONFIG_LIFT_R_SLAVE_ID, respectively.
 *
 * @param h Pointer to the lift structure to initialize.
 * @returns void.
 */
void rocket_lift_init(struct rocket_lift *h);

/**
 * Read the sensors from the lift.
 * This function reads the input registers for the filling station and rocket lift
 * and updates their respective sensor values.
 *
 * @param client_iface The Modbus client interface to use for reading.
 * @param h Pointer to the lift structure containing the lift boards to read.
 * @returns void.
 *
 * @note This function flags the connection status of each lift board based on the read result.
 *       If the read is successful, it sets the `is_connected` flag to true.
 *       If the read fails, it sets the `is_connected` flag to false and logs a warning.
 */
void rocket_lift_sensor_read(const int client_iface, struct rocket_lift *const h);
void fs_lift_sensor_read(const int client_iface, struct fs_lift *const l);

// TODO: implement this function
void rocket_lift_coils_read(const int client_iface, struct rocket_lift *const h);
void fs_lift_coils_read(const int client_iface, struct fs_lift *const l);

#endif // LIFT_H_
```

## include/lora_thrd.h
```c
#ifndef LORA_THRD_H_
#define LORA_THRD_H_

#include "stdbool.h"
#include "zephyr/kernel.h"

struct lora_cmd_queues {
    struct k_msgq *in_fsm_cmd_q;      // Queue for incomming FSM commands
    struct k_msgq *in_override_cmd_q; // Queue for incomming override/manual mode commands
};

struct lora_data_queues {
    struct k_msgq *sensor_data_q;    // Queue for sensor data (modbus)
    struct k_msgq *navigator_data_q; // Queue for navigator data
};

bool lora_thread_setup(void);
void lora_thread_entry(void *_cmd_qs, void *_data_qs, void *p3);

#endif // LORA_THRD_H_
```

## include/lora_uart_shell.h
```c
#ifndef LORA_UART_SHELL_H_
#define LORA_UART_SHELL_H_

#include "stdbool.h"

bool lora_uart_setup(void);
void lora_uart_entry(void *p1, void *p2, void *p3);

#endif // LORA_UART_SHELL_H_
```

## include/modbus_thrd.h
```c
#ifndef _MODBUS_THRD_H_
#define _MODBUS_THRD_H_

#include "stdbool.h"

bool modbus_thread_setup(void);
void modbus_thread(void *p1, void *p2, void *p3);

#endif
```

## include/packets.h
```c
#ifndef PACKETS_H_
#define PACKETS_H_

#include "zephyr/toolchain.h"

#include <stdint.h>
#include <stdbool.h>
#include <stddef.h>

#include "data_models.h"

// REVIEW: make this KConfig param?
#define SUPPORTED_PACKET_VERSION 1
#define OBC_PACKET_ID            2
#define GROUND_STATION_PACKET_ID 1

// -----------------------------------------------------------------------------
// Packet header
// -----------------------------------------------------------------------------

// Always 1 byte fields, packed for on-the-wire transmission.
typedef struct packet_header_s
{
    uint8_t packet_version;
    uint8_t sender_id;
    uint8_t target_id;
    uint8_t command_id; // use values from enum radio_command_e
} packet_header_t;

// -----------------------------------------------------------------------------
// Generic Packet Structure
// -----------------------------------------------------------------------------

#define PACKET_SIZE          128u
#define PACKET_HEADER_BYTES  ((uint8_t)sizeof(struct packet_header_s))
#define PACKET_PAYLOAD_BYTES (PACKET_SIZE - PACKET_HEADER_BYTES)

// NOTE: Generic packet structure, cast to a specific packet type to access values by name.
typedef struct generic_packet_s
{
    packet_header_t header;
    uint8_t payload[PACKET_PAYLOAD_BYTES];
} generic_packet_t;

// -----------------------------------------------------------------------------
// STATUS_REP payload layout
// -----------------------------------------------------------------------------

// NOTE: Alignment needs to be kept in mind.
//       It might be usable cross-platform even without compiler-specific attributes, as long
//       as the fields are defined in the same order and sizes are consistent across platforms.
//
//       For our use case, however, both the sender and receiver are the same platform
//       and compiler, so we can safely use memcpy to serialize and deserialize.
//
// For now status rep struct == system_data_t

// -----------------------------------------------------------------------------
// Fill Exec payloads
// -----------------------------------------------------------------------------

struct fill_N2_params_s
{
    uint16_t target_N2_deci_bar;
    uint16_t trigger_N2_deci_bar;
};

struct fill_press_params_s
{
    uint16_t target_tank_deci_bar;
    uint16_t trigger_tank_deci_bar; // optional: set to 0xFFFF if unused
};

struct fill_N2O_params_s
{
    uint16_t target_weight_grams;
    int16_t trigger_temp_deci_c;
};

struct fill_safe_pause_params_s
{
    uint16_t target_tank_dbar;
    uint16_t trigger_tank_dbar;
};

// Fill exec generic envelope
struct fill_exec_s
{
    uint8_t program_id;                       // values from fill_command_t
    uint8_t params[PACKET_PAYLOAD_BYTES - 1]; // 1 byte for program_id, rest for params
};

#define FILL_N2_PARAM_BYTES       (sizeof(struct fill_N2_params_s))
#define FILL_PRESSURE_PARAM_BYTES (sizeof(struct fill_pressure_params_s))
#define FILL_N2O_EXTRA_BYTES      (sizeof(struct fill_N2O_extra_s))

// -----------------------------------------------------------------------------
// Manual Commands
// -----------------------------------------------------------------------------

enum manual_cmd_e
{
    _MANUAL_CMD_NONE = 0,

    MANUAL_CMD_SD_LOG_START,
    MANUAL_CMD_SD_LOG_STOP,
    MANUAL_CMD_SD_STATUS,
    MANUAL_CMD_VALVE_STATE,
    MANUAL_CMD_VALVE_MS,
    MANUAL_CMD_LOADCELL_TARE,
    MANUAL_CMD_TANK_TARE,

    _MANUAL_CMD_MAX
};

struct manual_valve_state_s
{
    uint8_t valve_id;
    uint8_t open; // boolean: 0 closed, 1 open
};

struct manual_valve_ms_s
{
    uint8_t valve_id;
    uint32_t duration_ms;
};

struct manual_tare_s
{
    uint8_t id; // loadcell or tank id
};

// same logic as struct fill_exec_s
struct manual_exec_s
{
    uint8_t manual_cmd_id;
    uint8_t params[PACKET_PAYLOAD_BYTES - 1];
};

// -----------------------------------------------------------------------------
// ACK payload
// -----------------------------------------------------------------------------
// ACK contains the command id being acknowledged and optional error code(s).
// Define a compact representation.

struct ack_s
{
    uint8_t ack_cmd_id;  // command_t that is acknowledged
    uint8_t status_code; // 0 = OK, non-zero = error
    uint8_t params[PACKET_PAYLOAD_BYTES - 2];
};

// -----------------------------------------------------------------------------
// Command IDs
// -----------------------------------------------------------------------------
typedef enum cmd_e
{
    _CMD_NONE = 0,

    // FROM GROUND STATION to OBC
    //
    // No payload data, just reserved bytes
    CMD_STATUS_REQ = 1,
    CMD_ABORT,
    CMD_READY,
    CMD_ARM,
    CMD_FIRE,
    CMD_LAUNCH_OVERRIDE,
    CMD_STOP,
    CMD_RESUME,
    CMD_MANUAL_TOGGLE,

    // Commands with payload data
    CMD_FILL_EXEC,
    CMD_MANUAL_EXEC,

    // FROM OBC to GROUND STATION
    //
    CMD_STATUS_REP,
    CMD_ACK,

    _CMD_MAX
} command_t;

typedef enum fill_cmd_e
{
    CMD_FILL_NONE = 0,
    CMD_FILL_SAFE_PAUSE,
    CMD_FILL_N2,
    CMD_FILL_PRE_PRESS,
    CMD_FILL_N2O,
    CMD_FILL_POST_PRESS,
} fill_command_t;

// -----------------------------------------------------------------------------
// Individual Command Definitions
// -----------------------------------------------------------------------------
// NOTE: These definitions should be safe to cast to and from the generic
//       radio_generic_packet_s structure as they all have the same header structure
//       and align to the same size.
//
//       Prefer to use these definitions across the codebase to ensure type
//       safety and consistency.
//
//       the generic contained should only be used to pack and unpack commands
//       into wire format for transmission over the radio.
// -----------------------------------------------------------------------------

#define _PAD_SIZE(partial_s) (PACKET_PAYLOAD_BYTES - sizeof(partial_s))

#define _COMMAND_NAME(name) cmd_##name##_s

#define _ASSERT_PACKET_SIZE(name)                                                             \
    BUILD_ASSERT(sizeof(struct _COMMAND_NAME(name)) == PACKET_SIZE, #name " size error")

// Packet with no payload data (all reserved)
#define MAKE_PACKET(name)                                                                     \
    struct _COMMAND_NAME(name)                                                                \
    {                                                                                         \
        struct packet_header_s hdr;                                                           \
        uint8_t _reserved[PACKET_PAYLOAD_BYTES];                                              \
    };                                                                                        \
    _ASSERT_PACKET_SIZE(name)

// Packet with defined payload data
#define MAKE_PACKET_WITH_PAYLOAD(name, partial_s)                                             \
    struct _COMMAND_NAME(name)                                                                \
    {                                                                                         \
        struct packet_header_s hdr;                                                           \
        partial_s payload;                                                                    \
        uint8_t _reserved[_PAD_SIZE(partial_s)];                                              \
    };                                                                                        \
    _ASSERT_PACKET_SIZE(name)

MAKE_PACKET(status_req);
MAKE_PACKET(abort);
MAKE_PACKET(ready);
MAKE_PACKET(arm);
MAKE_PACKET(fire);
MAKE_PACKET(launch_override);
MAKE_PACKET(fill_stop);
MAKE_PACKET(fill_resume);
MAKE_PACKET(manual_toggle);

MAKE_PACKET_WITH_PAYLOAD(ack, struct ack_s);
MAKE_PACKET_WITH_PAYLOAD(fill_exec, struct fill_exec_s);
MAKE_PACKET_WITH_PAYLOAD(status_rep, system_data_t);
MAKE_PACKET_WITH_PAYLOAD(manual_exec, struct manual_exec_s);

#undef _PAD_SIZE
#undef _COMMAND_NAME
#undef _ASSERT_PACKET_SIZE

#undef MAKE_PACKET
#undef MAKE_PACKET_WITH_PAYLOAD

// -----------------------------------------------------------------------------
// Serialization helpers (declarations)
// -----------------------------------------------------------------------------

enum pack_error_e
{
    PACK_ERROR_NONE = 0,
    PACK_ERROR_INVALID_ARG,
    PACK_ERROR_BUFFER_TOO_SMALL,
    PACK_ERROR_UNSUPPORTED_VERSION,
    PACK_ERROR_INVALID_CMD_ID,
};

enum pack_error_e packet_pack(const generic_packet_t *const packet, uint8_t *const out_buf,
                              const size_t out_buf_size);

enum pack_error_e packet_unpack(const uint8_t *const in_buf, const size_t in_buf_size,
                                generic_packet_t *const packet);

generic_packet_t create_cmd_packet(command_t cmd);

#endif // COMMANDS_H_
```

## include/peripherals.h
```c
#ifndef PERIPHERALS_H
#define PERIPHERALS_H

#include <zephyr/kernel.h>
#include <zephyr/device.h>
#include <zephyr/drivers/pwm.h>
#include <zephyr/drivers/gpio.h>
#include <zephyr/logging/log.h>
#include <inttypes.h>

void pwm_init(void);
void pwm_set_duty_cycle(uint32_t channel, uint32_t period_us, uint32_t pulse_us);

#endif // PERIPHERALS_H
```

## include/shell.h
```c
#ifndef OBC_SHELL_H_
#define OBC_SHELL_H_

#if CONFIG_SHELL

void setup_shell_if_enabled(void);

#endif // CONFIG_SHELL

#endif // OBC_SHELL_H_
```
